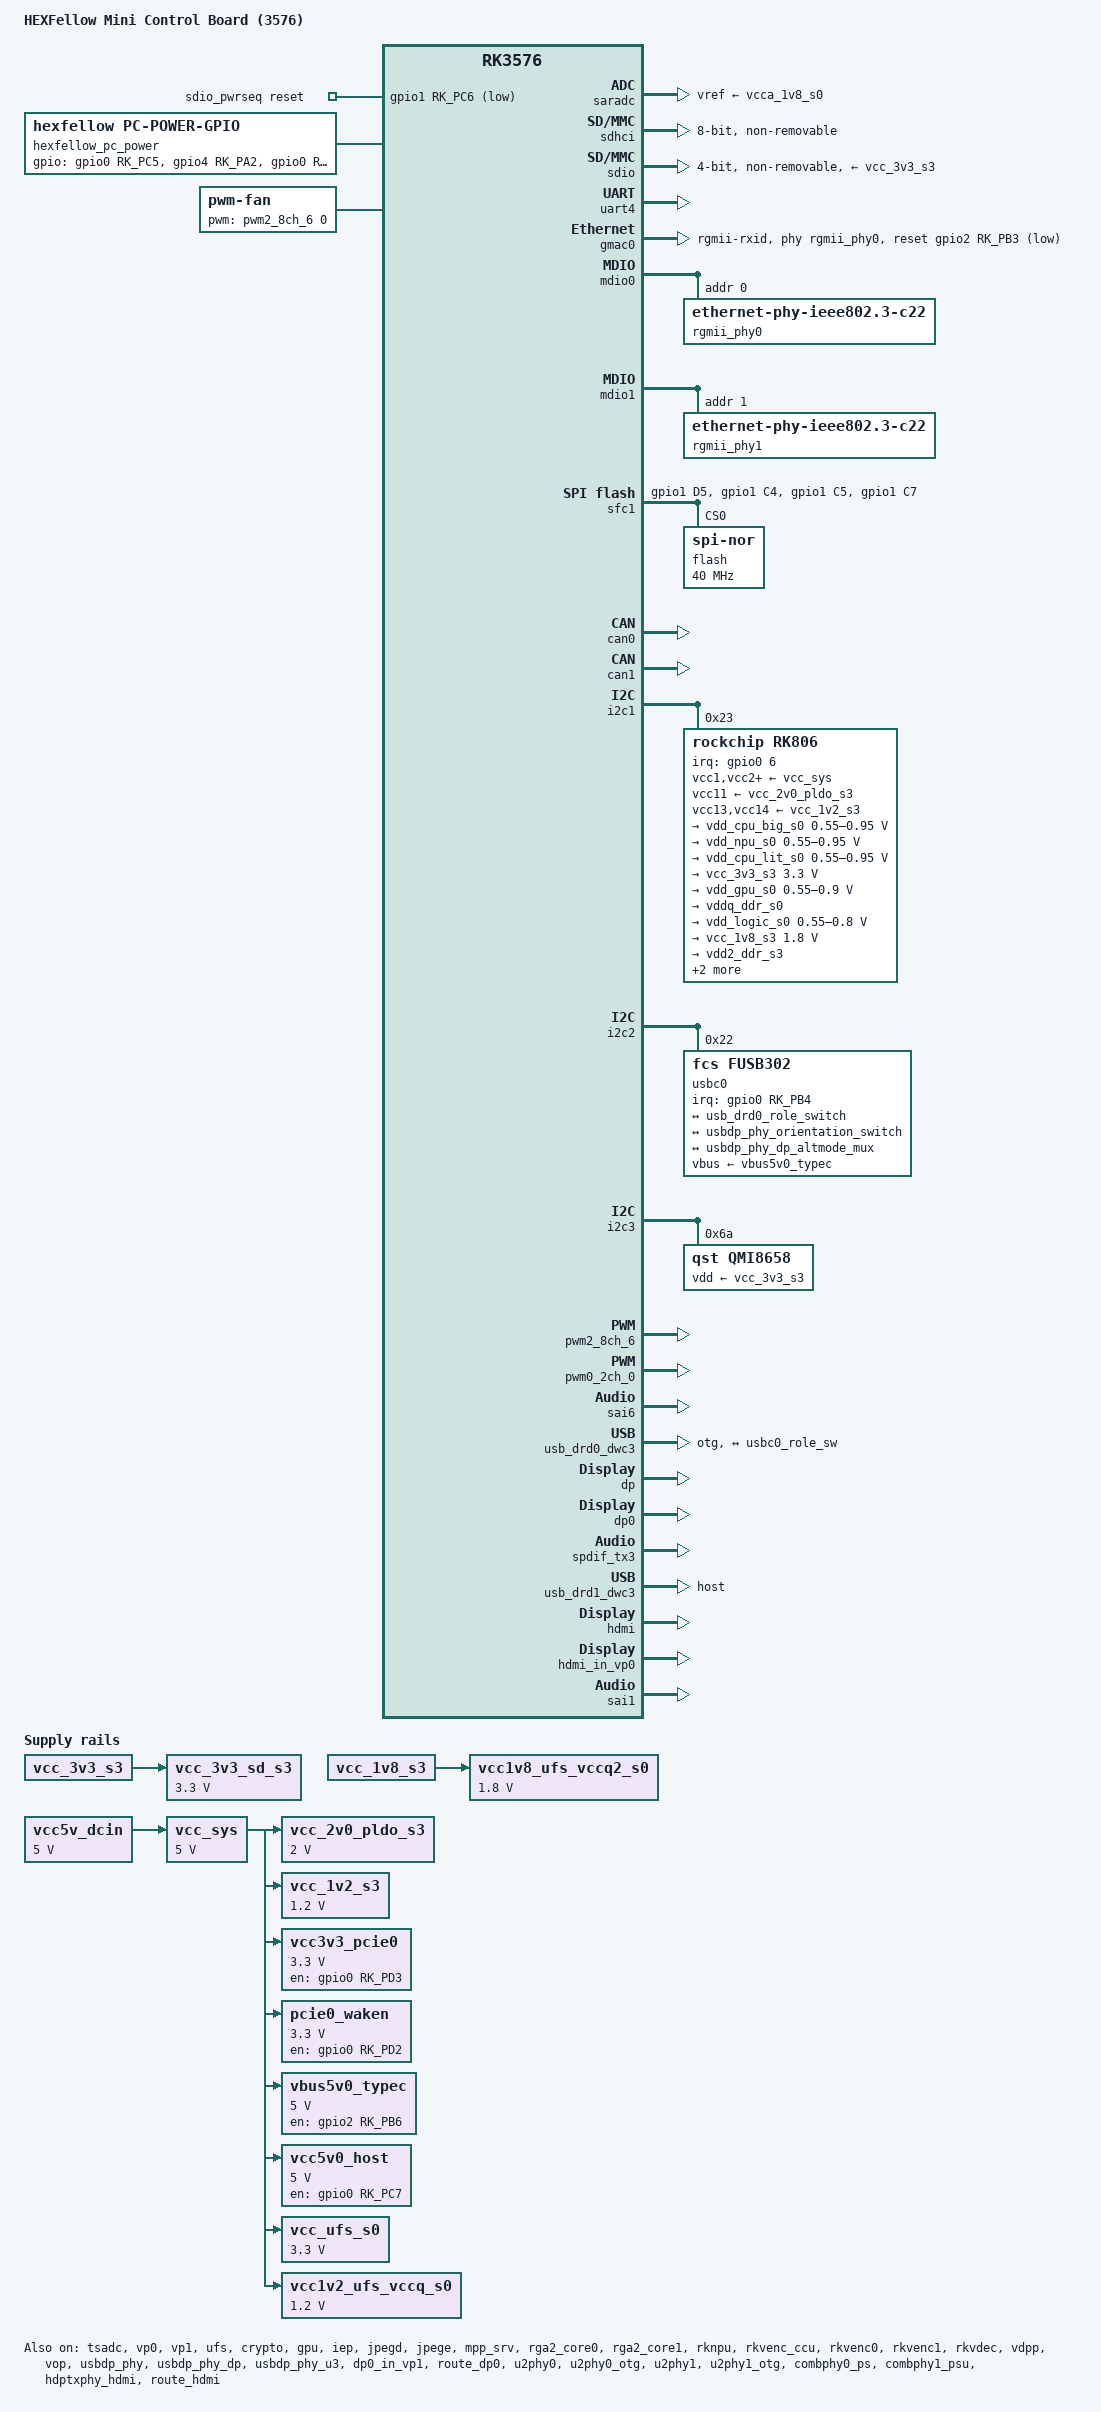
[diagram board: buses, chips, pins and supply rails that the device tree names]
// SPDX-License-Identifier: (GPL-2.0+ OR MIT)
/*
* Copyright (c) 2024 Rockchip Electronics Co., Ltd.
* Copyright (c) 2024 EmbedFire <embedfire@embedfire.com>
*/

/dts-v1/;
#include <dt-bindings/usb/pd.h>
#include <dt-bindings/gpio/gpio.h>
#include <dt-bindings/pwm/pwm.h>
#include <dt-bindings/pinctrl/rockchip.h>
#include <dt-bindings/input/linux-event-codes.h>
#include <dt-bindings/display/drm_mipi_dsi.h>
#include <dt-bindings/display/rockchip_vop.h>
#include <dt-bindings/sensor-dev.h>

#include "rk3576.dtsi"
#include "rk3576-linux.dtsi"
//#include "rk3576-rk806.dtsi"

/ {
	model = "HEXFellow Mini Control Board (3576)";
	compatible = "hexfellow,mini-ctrl-1", "rockchip,rk3576";
	
	aliases{
		ethernet0 = &gmac0;
		// ethernet1 = &gmac1;
		// can0 = &can0;
		// can1 = &can1;
	};

	chosen: chosen{
		stdout-path = "serial0:1500000n8";
	};

	vcc5v_dcin: vcc5v-dcin {
		compatible = "regulator-fixed";
		regulator-name = "vcc5v_dcin";
		regulator-always-on;
		regulator-boot-on;
		regulator-min-microvolt = <5000000>;
		regulator-max-microvolt = <5000000>;
	};

	vcc_sys: vcc5v0-sys {
		compatible = "regulator-fixed";
		regulator-name = "vcc_sys";
		regulator-always-on;
		regulator-boot-on;
		regulator-min-microvolt = <5000000>;
		regulator-max-microvolt = <5000000>;
		vin-supply = <&vcc5v_dcin>;
	};

	vcc_2v0_pldo_s3: vcc-2v0-pldo-s3 {
		compatible = "regulator-fixed";
		regulator-name = "vcc_2v0_pldo_s3";
		regulator-boot-on;
		regulator-always-on;
		regulator-min-microvolt = <2000000>;
		regulator-max-microvolt = <2000000>;
		vin-supply = <&vcc_sys>;
	};

	// vcc_1v1_nldo_s3: vcc-1v1-nldo-s3 {
	// 	compatible = "regulator-fixed";
	// 	regulator-name = "vcc_1v1_nldo_s3";
	// 	regulator-boot-on;
	// 	regulator-always-on;
	// 	regulator-min-microvolt = <1100000>;
	// 	regulator-max-microvolt = <1100000>;
	// 	vin-supply = <&vcc_sys>;
	// };
	vcc_1v2_s3: vcc-1v2-s3 {
		compatible = "regulator-fixed";
		regulator-name = "vcc_1v2_s3";
		regulator-boot-on;
		regulator-always-on;
		regulator-min-microvolt = <1200000>;
		regulator-max-microvolt = <1200000>;
		vin-supply = <&vcc_sys>;
	};
	vcc_3v3_sd_s3: vcc-3v3-sd-s3 {
		compatible = "regulator-fixed";
		regulator-name = "vcc_3v3_sd_s3";
		regulator-always-on;
		regulator-boot-on;
		regulator-min-microvolt = <3300000>;
		regulator-max-microvolt = <3300000>;
		vin-supply = <&vcc_3v3_s3>;
	};

	vcc3v3_pcie0: vcc3v3-pcie0 {
		compatible = "regulator-fixed";
		regulator-name = "vcc3v3_pcie0";
		regulator-min-microvolt = <3300000>;
		regulator-max-microvolt = <3300000>;
		enable-active-high;
		regulator-always-on;
		gpios = <&gpio0 RK_PD3 GPIO_ACTIVE_HIGH>;
		startup-delay-us = <5000>;
		vin-supply = <&vcc_sys>;
	};

	pcie0_waken: pcie0-waken {
		compatible = "regulator-fixed";
		regulator-name = "pcie0_waken";
		regulator-min-microvolt = <3300000>;
		regulator-max-microvolt = <3300000>;
		enable-active-high;
		regulator-always-on;
		gpios = <&gpio0 RK_PD2 GPIO_ACTIVE_HIGH>;
		startup-delay-us = <5000>;
		vin-supply = <&vcc_sys>;
	};
	sdio_pwrseq: sdio-pwrseq {
		compatible = "mmc-pwrseq-simple";
		pinctrl-names = "default";
		pinctrl-0 = <&wifi_poweren_gpio>;

		/*
		 * On the module itself this is one of these (depending
		 * on the actual card populated):
		 * - SDIO_RESET_L_WL_REG_ON
		 * - PDN (power down when low)
		 */
		post-power-on-delay-ms = <200>;
		reset-gpios = <&gpio1 RK_PC6 GPIO_ACTIVE_LOW>;
	};
	vbus5v0_typec: vbus5v0-typec {
		compatible = "regulator-fixed";
		regulator-name = "vbus5v0_typec";
		regulator-min-microvolt = <5000000>;
		regulator-max-microvolt = <5000000>;
		enable-active-high;
		gpio = <&gpio2 RK_PB6 GPIO_ACTIVE_HIGH>;
		vin-supply = <&vcc_sys>;
		pinctrl-names = "default";
		pinctrl-0 = <&typec_vbus_en>;
	};

	vcc5v0_host: vcc5v0-host {
		compatible = "regulator-fixed";
		regulator-name = "vcc5v0_host";
		regulator-boot-on;
		regulator-always-on;
		regulator-min-microvolt = <5000000>;
		regulator-max-microvolt = <5000000>;
		enable-active-high;
		gpio = <&gpio0 RK_PC7 GPIO_ACTIVE_HIGH>;
		vin-supply = <&vcc_sys>;
		pinctrl-names = "default";
		pinctrl-0 = <&vcc5v0_host_en>;
	};
	// wireless_bluetooth: wireless-bluetooth {
	// 	compatible = "bluetooth-platdata";
	// 	uart_rts_gpios = <&gpio1 RK_PC2 GPIO_ACTIVE_LOW>;
	// 	pinctrl-names = "default", "rts_gpio";
	// 	pinctrl-0 = <&uart4m1_rtsn>;
	// 	pinctrl-1 = <&uart4_gpios>;
	// 	BT,reset_gpio    = <&gpio1 RK_PC7 GPIO_ACTIVE_HIGH>;
	// 	// BT,wake_gpio     = <&gpio1 RK_PD4 GPIO_ACTIVE_HIGH>;
	// 	BT,wake_host_irq = <&gpio0 RK_PB1 GPIO_ACTIVE_HIGH>;
	// 	status = "okay";
	// };
	// wireless_wlan: wireless-wlan {
	// 	compatible = "wlan-platdata";
	// 	wifi_chip_type = "rtl88x2cs";
	// 	pinctrl-names = "default";
	// 	pinctrl-0 = <&wifi_host_wake_irq>;
	// 	WIFI,host_wake_irq = <&gpio0 RK_PB0 GPIO_ACTIVE_HIGH>;
	// 	WIFI,poweren_gpio = <&gpio1 RK_PC6 GPIO_ACTIVE_HIGH>;
	// 	status = "okay";
	// };
	// es8388_sound: es8388-sound {
	// 	status = "okay";
	// 	compatible = "rockchip,multicodecs-card";
	// 	rockchip,card-name = "rockchip-es8388";
	// 	hp-det-gpio = <&gpio4 RK_PB0 GPIO_ACTIVE_HIGH>;
	// 	hp-con-gpio = <&gpio4 RK_PB2 GPIO_ACTIVE_HIGH>;
	// 	io-channels = <&saradc 4>;
	// 	io-channel-names = "adc-detect";
	// 	keyup-threshold-microvolt = <1800000>;
	// 	poll-interval = <100>;
	// 	// rockchip,pre-power-on-delay-ms = <30>;
	// 	// rockchip,post-power-down-delay-ms = <40>;
	// 	rockchip,format = "i2s";
	// 	rockchip,mclk-fs = <256>;
	// 	rockchip,cpu = <&sai1>;
	// 	rockchip,codec = <&es8388>;
	// 	rockchip,audio-routing =
	// 		"Headphone", "LOUT1",
	// 		"Headphone", "ROUT1",
	// 		"Headphone", "Headphone Power",
	// 		"Headphone", "Headphone Power",
	// 		"LINPUT1", "Main Mic",
	// 		"LINPUT2", "Main Mic",
	// 		"RINPUT1", "Headset Mic",
	// 		"RINPUT2", "Headset Mic";
	// 	pinctrl-names = "default";
	// 	pinctrl-0 = <&hp_det>;
	// 	play-pause-key {
	// 		label = "playpause";
	// 		linux,code = <KEY_PLAYPAUSE>;
	// 		press-threshold-microvolt = <2000>;
	// 	};

	// 	previous-song-key {
	// 		label = "previoussong";
	// 		linux,code = <KEY_PREVIOUSSONG>;
	// 		press-threshold-microvolt = <145000>;
	// 	};

	// 	next-song-key {
	// 		label = "nextsong";
	// 		linux,code = <KEY_NEXTSONG>;
	// 		press-threshold-microvolt = <290000>;
	// 	};
	// };
    hexfellow_pc_power: hexfellow-pc-power {
        compatible = "hexfellow,pc-power-gpio";
        status = "okay";

        /* 
         * 1. energe_dump -> GPIO0_C5
         * 2. 12V_power   -> GPIO4_A2
         * 3. output_en   -> GPIO0_D0
         */
        gpios = <&gpio0 RK_PC5 GPIO_ACTIVE_HIGH>,   // energe_dump
                <&gpio4 RK_PA2 GPIO_ACTIVE_HIGH>,   // 12V_power
                <&gpio0 RK_PD0  GPIO_ACTIVE_HIGH>,   // output_en
                <&gpio2 RK_PB4  GPIO_ACTIVE_HIGH>;   // gpio_pwr_en

        gpio-names = "energe_dump", "12V_power", "output_en", "gpio_pwr_en";
    };
	gpu_opp_table: gpu-opp-table {
		compatible = "operating-points-v2";

		nvmem-cells = <&gpu_leakage>, <&gpu_opp_info>;
		nvmem-cell-names = "leakage", "opp-info";

		rockchip,pvtm-voltage-sel = <
			0	800	0
			801	820	1
			821	840	2
			841	860	3
			861	9999	4
		>;
		rockchip,pvtm-pvtpll;
		rockchip,pvtpll = <&gpu_pvtpll>;
		rockchip,pvtm-offset = <0x54>;
		rockchip,pvtm-sample-time = <1100>;
		rockchip,pvtm-freq = <800000>;
		rockchip,pvtm-volt = <750000>;
		rockchip,pvtm-ref-temp = <35>;
		rockchip,pvtm-temp-prop = <0 0>;
		rockchip,pvtm-thermal-zone = "gpu-thermal";

		rockchip,grf = <&gpu_grf>;
		volt-mem-read-margin = <
			855000	1
			765000	2
			675000	3
			495000	4
		>;
		intermediate-threshold-freq = <300000>;
		rockchip,opp-clocks = <&cru CLK_GPU>, <&cru PCLK_GPU_ROOT>;

		rockchip,temp-hysteresis = <5000>;
		rockchip,low-temp = <15000>;
		rockchip,low-temp-min-volt = <750000>;

		opp-300000000 {
			opp-hz = /bits/ 64 <300000000>;
			opp-microvolt = <700000 700000 850000>;
		};
		opp-400000000 {
			opp-hz = /bits/ 64 <400000000>;
			opp-microvolt = <700000 700000 850000>;
		};
		opp-500000000 {
			opp-hz = /bits/ 64 <500000000>;
			opp-microvolt = <700000 700000 850000>;
		};
		opp-600000000 {
			opp-hz = /bits/ 64 <600000000>;
			opp-microvolt = <700000 700000 850000>;
		};
		opp-700000000 {
			opp-hz = /bits/ 64 <700000000>;
			opp-microvolt = <725000 725000 850000>;
			opp-microvolt-L1 = <712500 712500 850000>;
			opp-microvolt-L2 = <700000 700000 850000>;
			opp-microvolt-L3 = <700000 700000 850000>;
			opp-microvolt-L4 = <700000 700000 850000>;
		};
		opp-800000000 {
			opp-hz = /bits/ 64 <800000000>;
			opp-microvolt = <775000 775000 850000>;
			opp-microvolt-L1 = <762500 762500 850000>;
			opp-microvolt-L2 = <750000 750000 850000>;
			opp-microvolt-L3 = <737500 737500 850000>;
			opp-microvolt-L4 = <725000 725000 850000>;
		};
		opp-900000000 {
			opp-hz = /bits/ 64 <900000000>;
			opp-microvolt = <825000 825000 850000>;
			opp-microvolt-L2 = <812500 812500 850000>;
			opp-microvolt-L3 = <800000 800000 850000>;
			opp-microvolt-L4 = <787500 787500 850000>;
		};
		opp-950000000 {
			opp-hz = /bits/ 64 <950000000>;
			opp-microvolt = <850000 850000 850000>;
			opp-microvolt-L2 = <837500 837500 850000>;
			opp-microvolt-L3 = <825000 825000 850000>;
			opp-microvolt-L4 = <812500 812500 850000>;
		};
	};
	hdmi_sound: hdmi-sound {
		compatible = "rockchip,hdmi";
		rockchip,mclk-fs = <128>;
		rockchip,card-name = "rockchip-hdmi";
		rockchip,cpu = <&sai6>;
		rockchip,codec = <&hdmi>;
		rockchip,jack-det;
	};

	dp0_sound: dp0-sound {
		compatible = "rockchip,hdmi";
		rockchip,mclk-fs = <512>;
		rockchip,card-name = "rockchip-dp0";
		rockchip,cpu = <&spdif_tx3>;
		rockchip,codec = <&dp0 1>;
		rockchip,jack-det;
	};

	fan: pwm-fan {
		compatible = "pwm-fan";
		#cooling-cells = <2>;
		pwms = <&pwm2_8ch_6 0 500000 0>;
		cooling-levels = <150>;
		rockchip,temp-trips = <
			0 0
		>;
	};

	vcc_ufs_s0: vcc-ufs-s0 {
		compatible = "regulator-fixed";
		regulator-name = "vcc_ufs_s0";
		regulator-boot-on;
		regulator-always-on;
		regulator-min-microvolt = <3300000>;
		regulator-max-microvolt = <3300000>;
		vin-supply = <&vcc_sys>;
	};

	vcc1v8_ufs_vccq2_s0: vcc1v8-ufs-vccq2-s0 {
		compatible = "regulator-fixed";
		regulator-name = "vcc1v8_ufs_vccq2_s0";
		regulator-boot-on;
		regulator-always-on;
		regulator-min-microvolt = <1800000>;
		regulator-max-microvolt = <1800000>;
		vin-supply = <&vcc_1v8_s3>;
	};

	vcc1v2_ufs_vccq_s0: vcc1v2-ufs-vccq-s0 {
		compatible = "regulator-fixed";
		regulator-name = "vcc1v2_ufs_vccq_s0";
		regulator-boot-on;
		regulator-always-on;
		regulator-min-microvolt = <1200000>;
		regulator-max-microvolt = <1200000>;
		vin-supply = <&vcc_sys>;
	};

	test-power {
		status = "okay";
	};
};

&saradc {
	status = "okay";
	vref-supply = <&vcca_1v8_s0>;
};

&tsadc {
	status = "okay";
};


&sdhci {
	assigned-clocks = <&cru BCLK_EMMC>, <&cru TCLK_EMMC>, <&cru CCLK_SRC_EMMC>;
	assigned-clock-rates = <200000000>, <24000000>, <200000000>;
	bus-width = <8>;
	max-frequency = <200000000>;
	mmc-hs400-1_8v;
	mmc-hs400-enhanced-strobe;
	non-removable;
	pinctrl-names = "default";
	pinctrl-0 = <&emmc_bus8 &emmc_clk &emmc_cmd>;
	// full-pwr-cycle-in-suspend;
	status = "okay";
};

&sdmmc {
	max-frequency = <200000000>;
	no-sdio;
	no-mmc;
	bus-width = <4>;
	cap-mmc-highspeed;
	cap-sd-highspeed;
	disable-wp;
	sd-uhs-sdr104;
	vmmc-supply = <&vcc_3v3_sd_s3>;
	vqmmc-supply = <&vccio_sd_s0>;
	pinctrl-names = "default";
	pinctrl-0 = <&sdmmc0_clk &sdmmc0_cmd &sdmmc0_det &sdmmc0_bus4>;
	status = "disabled";
};
&sdio {
	max-frequency = <200000000>;
	no-sd;
	no-mmc;
	bus-width = <4>;
	disable-wp;
	cap-sd-highspeed;
	cap-sdio-irq;
	keep-power-in-suspend;
	mmc-pwrseq = <&sdio_pwrseq>;
	non-removable;
	pinctrl-names = "default";
	pinctrl-0 = <&sdmmc1m0_bus4 &sdmmc1m0_clk &sdmmc1m0_cmd>;
	vmmc-supply = <&vcc_3v3_s3>;
	vqmmc-supply = <&vcc_1v8_s3>;
	// sd-uhs-sdr12;
	// sd-uhs-sdr25;
	// sd-uhs-sdr50;
	// sd-uhs-sdr104;
	status = "okay";
};

&uart4 {
	status = "okay";
	pinctrl-names = "default";
	pinctrl-0 = <&uart4m1_xfer &uart4m1_ctsn>;
};
&gmac0 {
	phy-mode = "rgmii-rxid";
	clock_in_out = "output";

	snps,reset-gpio = <&gpio2 RK_PB3 GPIO_ACTIVE_LOW>;
	snps,reset-active-low;
	/* Reset time is 20ms, 100ms */
	snps,reset-delays-us = <0 20000 100000>;

	pinctrl-names = "default";
	pinctrl-0 = <&eth0m0_miim
			 &eth0m0_tx_bus2
			 &eth0m0_rx_bus2
			 &eth0m0_rgmii_clk
			 &eth0m0_rgmii_bus
			 &ethm0_clk0_25m_out>;

			 tx_delay = <0x0e>;
			//  rx_delay = <0x01>;

	phy-handle = <&rgmii_phy0>;
	status = "okay";
};

&gmac1 {
	phy-mode = "rgmii-rxid";
	clock_in_out = "output";

	snps,reset-gpio = <&gpio2 RK_PD6 GPIO_ACTIVE_LOW>;
	snps,reset-active-low;
	/* Reset time is 20ms, 100ms */
	snps,reset-delays-us = <0 20000 100000>;

	// assigned-clocks = <&cru SCLK_GMAC1_RX_TX>, <&cru SCLK_GMAC1>;
	// assigned-clock-parents = <&cru SCLK_GMAC1_RGMII_SPEED>;
	// assigned-clock-rates = <0>, <125000000>;

	pinctrl-names = "default";
	pinctrl-0 = <&eth1m1_miim
			 &eth1m1_tx_bus2
			 &eth1m1_rx_bus2
			 &eth1m1_rgmii_clk
			 &eth1m1_rgmii_bus>;

			 tx_delay = <0x20>;
			 rx_delay = <0x01>;

	phy-handle = <&rgmii_phy1>;
	status = "disabled";
};


&vp0 {
	rockchip,plane-mask = <(1 << ROCKCHIP_VOP2_CLUSTER0 | 1 << ROCKCHIP_VOP2_ESMART0)>;
	rockchip,primary-plane = <ROCKCHIP_VOP2_ESMART0>;
	cursor-win-id = <ROCKCHIP_VOP2_CLUSTER0>;
};

&vp1 {
	rockchip,plane-mask = <(1 << ROCKCHIP_VOP2_CLUSTER1 | 1 << ROCKCHIP_VOP2_ESMART1)>;
	rockchip,primary-plane = <ROCKCHIP_VOP2_ESMART1>;
	cursor-win-id = <ROCKCHIP_VOP2_CLUSTER1>;
};

&vp2 {
	rockchip,plane-mask = <(1 << ROCKCHIP_VOP2_ESMART2 | 1 << ROCKCHIP_VOP2_ESMART3)>;
	rockchip,primary-plane = <ROCKCHIP_VOP2_ESMART2>;
	cursor-win-id = <ROCKCHIP_VOP2_ESMART3>;
};

&vp2 {
	esmart_lb_mode = /bits/ 8 <5>;
};
&mdio0 {
	rgmii_phy0: phy@0 {
		compatible = "ethernet-phy-ieee802.3-c22";
		reg = <0x0>;
		clocks = <&cru REFCLKO25M_GMAC0_OUT>;
	};
};
&mdio1 {
	rgmii_phy1: phy@1 {
		compatible = "ethernet-phy-ieee802.3-c22";
		reg = <0x1>;
		clocks = <&cru REFCLKO25M_GMAC1_OUT>;
	};
};
&sfc1 {
	status = "okay";
	pinctrl-names = "default";
	pinctrl-0 = <&fspi1m1_correct_pins &fspi1m1_csn0>;

	flash@0 {
		compatible = "jedec,spi-nor";
		reg = <0>;
		spi-max-frequency = <40000000>;
		spi-rx-bus-width = <4>;
		spi-tx-bus-width = <1>;
	};
};

&can0 {
    status = "okay"; 
	assigned-clocks = <&cru CLK_CAN0>;
	assigned-clock-rates=<200000000>;
    pinctrl-names = "default";
    pinctrl-0 = <&can0m3_pins>;
};
&can1 {
    status = "okay"; 
	assigned-clocks = <&cru CLK_CAN1>;
	assigned-clock-rates=<200000000>;
    pinctrl-names = "default";
    pinctrl-0 = <&can1m1_pins>;
};

&i2c1 {
	status = "okay";
	pinctrl-names = "default";
	pinctrl-0 = <&i2c1m0_xfer>;
	rk806: pmic@23 {
		compatible = "rockchip,rk806";
		reg = <0x23>;

		interrupt-parent = <&gpio0>;
		interrupts = <6 IRQ_TYPE_LEVEL_LOW>;

		pinctrl-names = "default", "pmic-power-off";
		pinctrl-0 = <&pmic_pins>, <&rk806_dvs1_null>, <&rk806_dvs2_null>, <&rk806_dvs3_null>;
		pinctrl-1 = <&rk806_dvs1_pwrdn>;

		/* 2800mv-3500mv */
		low_voltage_threshold = <3000>;
		/* 2700mv-3400mv */
		shutdown_voltage_threshold = <2700>;
		/* 140 160 */
		shutdown_temperture_threshold = <160>;
		hotdie_temperture_threshold = <115>;
		/* shutdown sequence */
		shutdown-sequence = <2 2 2 0 2 0 2 1 1 2
							 2 2 2 2 2
							 1 0 0 0 0 2>;

		/* low power forced shutdown sequence */
		vb-shutdown-sequence = <2 2 2 0 2 0 2 0 0 2
								2 2 2 2 2
								0 0 0 0 0 2>;

		/* 0: restart PMU;
		 * 1: reset all the power off reset registers,
		 *    forcing the state to switch to ACTIVE mode;
		 * 2: Reset all the power off reset registers,
		 *    forcing the state to switch to ACTIVE mode,
		 *    and simultaneously pull down the RESETB PIN for 5mS before releasing
		 */
		pmic-reset-func = <1>;
		/* buck5 external feedback resister disable */
		buck5-feedback-disable;

		vcc1-supply = <&vcc_sys>;
		vcc2-supply = <&vcc_sys>;
		vcc3-supply = <&vcc_sys>;
		vcc4-supply = <&vcc_sys>;
		vcc5-supply = <&vcc_sys>;
		vcc6-supply = <&vcc_sys>;
		vcc7-supply = <&vcc_sys>;
		vcc8-supply = <&vcc_sys>;
		vcc9-supply = <&vcc_sys>;
		vcc10-supply = <&vcc_sys>;
		vcc11-supply = <&vcc_2v0_pldo_s3>;
		vcc12-supply = <&vcc_sys>;
		vcc13-supply = <&vcc_1v2_s3>;
		vcc14-supply = <&vcc_1v2_s3>;
		vcca-supply = <&vcc_sys>;

		pwrkey {
			status = "okay";
		};

		pinctrl_rk806: pinctrl_rk806 {
			gpio-controller;
			#gpio-cells = <2>;

			rk806_dvs1_null: rk806_dvs1_null {
				pins = "gpio_pwrctrl2";
				function = "pin_fun0";
			};

			rk806_dvs1_slp: rk806_dvs1_slp {
				pins = "gpio_pwrctrl1";
				function = "pin_fun1";
			};

			rk806_dvs1_pwrdn: rk806_dvs1_pwrdn {
				pins = "gpio_pwrctrl1";
				function = "pin_fun2";
			};

			rk806_dvs1_rst: rk806_dvs1_rst {
				pins = "gpio_pwrctrl1";
				function = "pin_fun3";
			};

			rk806_dvs2_null: rk806_dvs2_null {
				pins = "gpio_pwrctrl2";
				function = "pin_fun0";
			};

			rk806_dvs2_slp: rk806_dvs2_slp {
				pins = "gpio_pwrctrl2";
				function = "pin_fun1";
			};

			rk806_dvs2_pwrdn: rk806_dvs2_pwrdn {
				pins = "gpio_pwrctrl2";
				function = "pin_fun2";
			};

			rk806_dvs2_rst: rk806_dvs2_rst {
				pins = "gpio_pwrctrl2";
				function = "pin_fun3";
			};

			rk806_dvs2_dvs: rk806_dvs2_dvs {
				pins = "gpio_pwrctrl2";
				function = "pin_fun4";
			};

			rk806_dvs2_gpio: rk806_dvs2_gpio {
				pins = "gpio_pwrctrl2";
				function = "pin_fun5";
			};

			rk806_dvs3_null: rk806_dvs3_null {
				pins = "gpio_pwrctrl3";
				function = "pin_fun0";
			};

			rk806_dvs3_slp: rk806_dvs3_slp {
				pins = "gpio_pwrctrl3";
				function = "pin_fun1";
			};

			rk806_dvs3_pwrdn: rk806_dvs3_pwrdn {
				pins = "gpio_pwrctrl3";
				function = "pin_fun2";
			};

			rk806_dvs3_rst: rk806_dvs3_rst {
				pins = "gpio_pwrctrl3";
				function = "pin_fun3";
			};

			rk806_dvs3_dvs: rk806_dvs3_dvs {
				pins = "gpio_pwrctrl3";
				function = "pin_fun4";
			};

			rk806_dvs3_gpio: rk806_dvs3_gpio {
				pins = "gpio_pwrctrl3";
				function = "pin_fun5";
			};
		};

		regulators {
			vdd_cpu_big_s0: DCDC_REG1 {
				regulator-always-on;
				regulator-boot-on;
				regulator-init-microvolt = <850000>;
				regulator-min-microvolt = <550000>;
				regulator-max-microvolt = <950000>;
				regulator-ramp-delay = <12500>;
				regulator-name = "vdd_cpu_big_s0";
				regulator-enable-ramp-delay = <400>;
				regulator-state-mem {
					regulator-off-in-suspend;
				};
			};

			vdd_npu_s0: DCDC_REG2 {
				regulator-boot-on;
				regulator-min-microvolt = <550000>;
				regulator-max-microvolt = <950000>;
				regulator-ramp-delay = <12500>;
				regulator-name = "vdd_npu_s0";
				regulator-enable-ramp-delay = <400>;
				regulator-state-mem {
					regulator-off-in-suspend;
				};
			};

			vdd_cpu_lit_s0: DCDC_REG3 {
				regulator-always-on;
				regulator-boot-on;
				regulator-init-microvolt = <850000>;
				regulator-min-microvolt = <550000>;
				regulator-max-microvolt = <950000>;
				regulator-ramp-delay = <12500>;
				regulator-name = "vdd_cpu_lit_s0";
				regulator-state-mem {
					regulator-off-in-suspend;
					regulator-suspend-microvolt = <750000>;
				};
			};

			vcc_3v3_s3: DCDC_REG4 {
				regulator-always-on;
				regulator-boot-on;
				regulator-min-microvolt = <3300000>;
				regulator-max-microvolt = <3300000>;
				regulator-name = "vcc_3v3_s3";
				regulator-state-mem {
					regulator-on-in-suspend;
					regulator-suspend-microvolt = <3300000>;
				};
			};

			vdd_gpu_s0: DCDC_REG5 {
				regulator-boot-on;
				regulator-init-microvolt = <750000>;
				regulator-min-microvolt = <550000>;
				regulator-max-microvolt = <900000>;
				regulator-ramp-delay = <12500>;
				regulator-name = "vdd_gpu_s0";
				regulator-enable-ramp-delay = <400>;
				regulator-state-mem {
					regulator-off-in-suspend;
					regulator-suspend-microvolt = <850000>;
				};
			};

			vddq_ddr_s0: DCDC_REG6 {
				regulator-always-on;
				regulator-boot-on;
				regulator-name = "vddq_ddr_s0";
				regulator-state-mem {
					regulator-off-in-suspend;
				};
			};

			vdd_logic_s0: vdd_log_mem_s0: DCDC_REG7 {
				regulator-always-on;
				regulator-boot-on;
				regulator-init-microvolt = <750000>;
				regulator-min-microvolt = <550000>;
				regulator-max-microvolt = <800000>;
				regulator-name = "vdd_logic_s0";
				regulator-state-mem {
					regulator-off-in-suspend;
				};
			};

			vcc_1v8_s3: DCDC_REG8 {
				regulator-always-on;
				regulator-boot-on;
				regulator-min-microvolt = <1800000>;
				regulator-max-microvolt = <1800000>;
				regulator-name = "vcc_1v8_s3";
				regulator-state-mem {
					regulator-on-in-suspend;
					regulator-suspend-microvolt = <1800000>;
				};
			};

			vdd2_ddr_s3: DCDC_REG9 {
				regulator-always-on;
				regulator-boot-on;
				regulator-name = "vdd2_ddr_s3";
				regulator-state-mem {
					regulator-on-in-suspend;
				};
			};

			vdd_ddr_s0: DCDC_REG10 {
				regulator-always-on;
				regulator-boot-on;
				regulator-min-microvolt = <550000>;
				regulator-max-microvolt = <1200000>;
				regulator-name = "vdd_ddr_s0";
				regulator-state-mem {
					regulator-off-in-suspend;
				};
			};

			vcca_1v8_s0: PLDO_REG1 {
				regulator-always-on;
				regulator-boot-on;
				regulator-min-microvolt = <1800000>;
				regulator-max-microvolt = <1800000>;
				regulator-name = "vcca_1v8_s0";
				regulator-state-mem {
					regulator-off-in-suspend;
				};
			};

			vcca1v8_pldo2_s0: PLDO_REG2 {
				regulator-always-on;
				regulator-boot-on;
				regulator-min-microvolt = <1800000>;
				regulator-max-microvolt = <1800000>;
				regulator-name = "vcca1v8_pldo2_s0";
				regulator-state-mem {
					regulator-off-in-suspend;
				};
			};

			vdda_1v2_s0: PLDO_REG3 {
				regulator-always-on;
				regulator-boot-on;
				regulator-min-microvolt = <1200000>;
				regulator-max-microvolt = <1200000>;
				regulator-name = "vdda_1v2_s0";
				regulator-state-mem {
					regulator-off-in-suspend;
				};
			};

			vcca_3v3_s0: PLDO_REG4 {
				regulator-always-on;
				regulator-boot-on;
				regulator-min-microvolt = <3300000>;
				regulator-max-microvolt = <3300000>;
				regulator-name = "vcca_3v3_s0";
				regulator-state-mem {
					regulator-off-in-suspend;
				};
			};

			vccio_sd_s0: PLDO_REG5 {
				regulator-always-on;
				regulator-boot-on;
				regulator-min-microvolt = <1800000>;
				regulator-max-microvolt = <3300000>;
				regulator-name = "vccio_sd_s0";
				regulator-state-mem {
					regulator-off-in-suspend;
				};
			};

			vcca1v8_pldo6_s3: PLDO_REG6 {
				regulator-always-on;
				regulator-boot-on;
				regulator-min-microvolt = <1800000>;
				regulator-max-microvolt = <1800000>;
				regulator-name = "vcca1v8_pldo6_s3";
				regulator-state-mem {
					regulator-on-in-suspend;
					regulator-suspend-microvolt = <1800000>;
				};
			};

			vdd_0v75_s3: NLDO_REG1 {
				regulator-always-on;
				regulator-boot-on;
				regulator-min-microvolt = <750000>;
				regulator-max-microvolt = <750000>;
				regulator-name = "vdd_0v75_s3";
				regulator-state-mem {
					regulator-on-in-suspend;
					regulator-suspend-microvolt = <750000>;
				};
			};

			vdda_ddr_pll_s0: NLDO_REG2 {
				regulator-always-on;
				regulator-boot-on;
				regulator-min-microvolt = <850000>;
				regulator-max-microvolt = <850000>;
				regulator-name = "vdda_ddr_pll_s0";
				regulator-state-mem {
					regulator-off-in-suspend;
				};
			};

			vdda0v75_hdmi_s0: NLDO_REG3 {
				regulator-always-on;
				regulator-boot-on;
				regulator-min-microvolt = <837500>;
				regulator-max-microvolt = <837500>;
				regulator-name = "vdda0v75_hdmi_s0";
				regulator-state-mem {
					regulator-off-in-suspend;
				};
			};

			vdda_0v85_s0: NLDO_REG4 {
				regulator-always-on;
				regulator-boot-on;
				regulator-min-microvolt = <850000>;
				regulator-max-microvolt = <850000>;
				regulator-name = "vdda_0v85_s0";
				regulator-state-mem {
					regulator-off-in-suspend;
				};
			};

			vdda_0v75_s0: NLDO_REG5 {
				regulator-always-on;
				regulator-boot-on;
				regulator-min-microvolt = <750000>;
				regulator-max-microvolt = <750000>;
				regulator-name = "vdda_0v75_s0";
				regulator-state-mem {
					regulator-off-in-suspend;
				};
			};
		};
	};
};
&i2c2 {
	pinctrl-names = "default";
	pinctrl-0 = <&i2c2m0_xfer>;
	status = "okay";

	/* Typec Controller AW35615CSR */
	usbc0: fusb302@22 {
		compatible = "fcs,fusb302";
		reg = <0x22>;
		interrupt-parent = <&gpio0>;
		interrupts = <RK_PB4 IRQ_TYPE_LEVEL_LOW>;
		pinctrl-names = "default";
		pinctrl-0 = <&fusb302_int>;
		vbus-supply = <&vbus5v0_typec>;
		status = "okay";

		ports {
			#address-cells = <1>;
			#size-cells = <0>;

			port@0 {
				reg = <0>;
				usbc0_role_sw: endpoint@0 {
					remote-endpoint = <&usb_drd0_role_switch>;
				};
			};
		};

		usb_con: connector {
			compatible = "usb-c-connector";
			label = "USB-C";
			data-role = "dual";
			power-role = "dual";
			try-power-role = "sink";
			op-sink-microwatt = <1000000>;
			sink-pdos =
				<PDO_FIXED(5000, 1000, PDO_FIXED_USB_COMM)>;
			source-pdos =
				<PDO_FIXED(5000, 3000, PDO_FIXED_USB_COMM)>;

			altmodes {
				#address-cells = <1>;
				#size-cells = <0>;

				altmode@0 {
					reg = <0>;
					svid = <0xff01>;
					vdo = <0xffffffff>;
				};
			};

			ports {
				#address-cells = <1>;
				#size-cells = <0>;

				port@0 {
					reg = <0>;
					usbc0_orien_sw: endpoint {
						remote-endpoint = <&usbdp_phy_orientation_switch>;
					};
				};

				port@1 {
					reg = <1>;
					dp_altmode_mux: endpoint {
						remote-endpoint = <&usbdp_phy_dp_altmode_mux>;
					};
				};
			};
		};
	};
};

&i2c3 {
	pinctrl-names = "default";
	pinctrl-0 = <&i2c3m0_xfer>;
	status = "okay";

	qmi8658: imu@6a {
		compatible = "qst,qmi8658";
		reg = <0x6a>;
		vdd-supply = <&vcc_3v3_s3>;
	};
};

&pwm2_8ch_6 {
	status = "okay";
	pinctrl-0 = <&pwm2m0_ch6>;
};

&pwm0_2ch_0 {
	compatible = "rockchip,remotectl-pwm-v4";
	pinctrl-names = "default";
	pinctrl-0 = <&pwm0m0_ch0>;
	remote_pwm_id = <0>;
	handle_cpu_id = <1>;
	remote_support_psci = <0>;
	status = "okay";

	ir_key_lubancat{
		rockchip,usercode = <0xff00>;
		rockchip,key_table =
			<0xba   KEY_POWER>,   //电源按键
			<0xb8   KEY_MENU>,     //菜单按键
			<0xbc   KEY_BACK>,      //返回按键
			<0xbb   KEY_HOME>,      //home键按键
			<0xea   KEY_PLAY>,      //播放按键
			<0xbf   KEY_VOLUMEUP>,  //音量加按键
			<0xe6   KEY_VOLUMEDOWN>,   //音量键按键
			<0xf6   KEY_FASTFORWARD>,  //快进按键
			<0xf8   KEY_FASTREVERSE>,  //快退按键
			<0xf2   KEY_BACKSPACE>,    //BaskSpace按键
			<0xf3   KEY_1>,            //按键1
			<0xe7   KEY_2>,
			<0xa1   KEY_3>,
			<0xf7   KEY_4>,
			<0xe3   KEY_5>,
			<0xa5   KEY_6>,
			<0xbd   KEY_7>,
			<0xad   KEY_8>,
			<0xb5   KEY_9>,
			<0xe9   KEY_0>;            //按键0
	};

	ir_key1 {
		rockchip,usercode = <0x4040>;
		rockchip,key_table =
			<0xf2	KEY_REPLY>,
			<0xba	KEY_BACK>,
			<0xf4	KEY_UP>,
			<0xf1	KEY_DOWN>,
			<0xef	KEY_LEFT>,
			<0xee	KEY_RIGHT>,
			<0xbd	KEY_HOME>,
			<0xea	KEY_VOLUMEUP>,
			<0xe3	KEY_VOLUMEDOWN>,
			<0xe2	KEY_SEARCH>,
			<0xb2	KEY_POWER>,
			<0xbc	KEY_MUTE>,
			<0xec	KEY_MENU>,
			<0xbf	0x190>,
			<0xe0	0x191>,
			<0xe1	0x192>,
			<0xe9	183>,
			<0xe6	248>,
			<0xe8	185>,
			<0xe7	186>,
			<0xf0	388>,
			<0xbe	0x175>;
	};
};

&ufs {
	reset-gpios = <&gpio4 RK_PD0 GPIO_ACTIVE_HIGH>;
	vcc-supply = <&vcc_ufs_s0>;
	vccq-supply = <&vcc1v2_ufs_vccq_s0>;
	vccq2-supply = <&vcc1v8_ufs_vccq2_s0>;
	status = "okay";
};

&cpu_l0 {
	cpu-supply = <&vdd_cpu_lit_s0>;
};

&cpu_b0 {
	cpu-supply = <&vdd_cpu_big_s0>;
};

&crypto {
	status = "okay";
};

&gpu {
    mali-supply = <&vdd_gpu_s0>;
    status = "okay";
};

&iep {
	status = "okay";
};

&iep_mmu {
	status = "okay";
};
&jpegd {
	status = "okay";
};

&jpege {
	status = "okay";
};

&jpeg_mmu {
	status = "okay";
};

&mpp_srv {
	status = "okay";
};

&rga2_core0 {
	status = "okay";
};

&rga2_core0_mmu {
	status = "okay";
};

&rga2_core1 {
	status = "okay";
};

&rga2_core1_mmu {
	status = "okay";
};

&rknpu {
	rknpu-supply = <&vdd_npu_s0>;
	status = "okay";
};

&rknpu_mmu {
	status = "okay";
};

&rkvenc_ccu {
	status = "okay";
};

&rkvenc0 {
	status = "okay";
};

&rkvenc0_mmu {
	status = "okay";
};

&rkvenc1 {
	status = "okay";
};

&rkvenc1_mmu {
	status = "okay";

};

&rkvdec {
	status = "okay";
};

&rkvdec_mmu {
	status = "okay";
};

&rockchip_suspend {
	status = "okay";
	rockchip,sleep-debug-en = <1>;

	rockchip,sleep-io-ret-config = <
		(0
		| RKPM_VCCIO3_RET_EN
		)
	>;

	rockchip,regulator-on-before-mem = <&vdd_npu_s0>;
};

&sai6 {
	status = "okay";
};

&vdpp {
	status = "okay";
};

&vop {
	status = "okay";
	vop-supply = <&vdd_logic_s0>;
};

&vop_mmu {
	status = "okay";
};

&vp2 {
	assigned-clocks = <&cru DCLK_VP2_SRC>;
	assigned-clock-parents = <&cru PLL_VPLL>;
};

/* USB3 OTG0/DP1.4 Alt */
&usbdp_phy {
	orientation-switch;
	svid = <0xff01>;
	sbu1-dc-gpios = <&gpio4 RK_PC4 GPIO_ACTIVE_HIGH>;
	sbu2-dc-gpios = <&gpio4 RK_PC5 GPIO_ACTIVE_HIGH>;
	status = "okay";

	port {
		#address-cells = <1>;
		#size-cells = <0>;

		usbdp_phy_orientation_switch: endpoint@0 {
			reg = <0>;
			remote-endpoint = <&usbc0_orien_sw>;
		};

		usbdp_phy_dp_altmode_mux: endpoint@1 {
			reg = <1>;
			remote-endpoint = <&dp_altmode_mux>;
		};
	};

};

&usbdp_phy_dp {
	status = "okay";
};

&usbdp_phy_u3 {
	status = "okay";
};

&usb_drd0_dwc3 {
    dr_mode = "otg";
    usb-role-switch;
    status = "okay";
    port {
        usb_drd0_role_switch: endpoint {
            remote-endpoint = <&usbc0_role_sw>;
        };
    };
};

/* DP */
&dp {
	status = "okay";
};

&dp0 {
	status = "okay";
};

&dp0_in_vp0 {
	status = "disabled";
};

&dp0_in_vp1 {
	status = "okay";
};

&dp0_in_vp2 {
	status = "disabled";
};

&vp1 {
	status = "okay";
};

&route_dp0 {
	status = "okay";
	connect = <&vp1_out_dp0>;
};

&dp0_sound {
	status = "okay";
};

&spdif_tx3 {
	status = "okay";
};

/* USB2 OTG0 */
&u2phy0 {
	status = "okay";
};

&u2phy0_otg {
	rockchip,typec-vbus-det;
	rockchip,dis-u2-susphy;
	status = "okay";
};

/* USB2 OTG1 */
&u2phy1 {
	status = "okay";
};

&u2phy1_otg {
	phy-supply = <&vcc5v0_host>;
	dr_mode = "host";
	status = "okay";
};

/* PCIE0/SATA0 Combo PHY0 */
&combphy0_ps {
	status = "okay";
};

&pcie0 {
	reset-gpios = <&gpio2 RK_PB1 GPIO_ACTIVE_HIGH>;
	disable-gpios = <&gpio4 RK_PC7 GPIO_ACTIVE_HIGH>;
	vpcie3v3-supply = <&vcc3v3_pcie0>;
	pinctrl-names = "default";
	pinctrl-0 = <&pcie_disable_gpio>;
	status = "disabled";
};

&sata0 {
	vpcie3v3-supply = <&vcc3v3_pcie0>;
	status = "disabled";
};

/* PCIE1/SATA1/USB3_OTG1 Combo PHY1 */
&combphy1_psu {
	status = "okay";
};

&usb_drd1_dwc3 {
	dr_mode = "host";
	status = "okay";
};

/* HDMI TX/eDP TX Combo Phy */
&display_subsystem {
	clocks = <&hdptxphy_hdmi>;
	clock-names = "hdmi0_phy_pll";
};

&hdmi {
	cec-enable = "true";
	rockchip,sda-falling-delay-ns = <360>;
	status = "okay";
};

&vp0 {
	status = "okay";
};

&hdmi_in_vp0 {
	status = "okay";
};

&hdmi_in_vp1 {
	status = "disabled";
};

&hdmi_in_vp2 {
	status = "disabled";
};

&hdmi_in_vopl {
	status = "disabled";
};

&hdptxphy_hdmi {
	status = "okay";
};

&route_hdmi {
	status = "okay";
	connect = <&vp0_out_hdmi>;
};

&hdmi_sound {
	status = "okay";
};

&sai1 {
	status = "okay";
	rockchip,sai-tx-route = <2 1 0 3>;
	pinctrl-names = "default";
	pinctrl-0 = <&sai1m0_lrck
			&sai1m0_sclk
			&sai1m0_sdi0
			&sai1m0_sdo2>;
};

&pinctrl {

	wireless-bluetooth {
		uart4_gpios: uart4-gpios {
			rockchip,pins = <1 RK_PC2 RK_FUNC_GPIO &pcfg_pull_none>;
		};
	};

	wireless-wlan {
		wifi_host_wake_irq: wifi-host-wake-irq {
			rockchip,pins = <0 RK_PB0 RK_FUNC_GPIO &pcfg_pull_none>;
		};

		wifi_poweren_gpio: wifi-poweren-gpio {
			rockchip,pins = <1 RK_PC6 RK_FUNC_GPIO &pcfg_pull_up>;
		};
	};
	usb {
		fusb302_int: fusb302-int {
			rockchip,pins = <0 RK_PB4 RK_FUNC_GPIO &pcfg_pull_up>;
		};

		typec_vbus_en: typec-vbus-en {
			rockchip,pins = <2 RK_PB6 RK_FUNC_GPIO &pcfg_pull_none>;
		};

		vcc5v0_host_en: usb-host-pwren {
			rockchip,pins = <0 RK_PC7 RK_FUNC_GPIO &pcfg_pull_none>;
		};
	};

	mipi-dsi {
		lcd_pwr_en: lcd-pwr-en {
			rockchip,pins = <0 RK_PB6 RK_FUNC_GPIO &pcfg_pull_none>;
		};
	};

	headphone {
		hp_det: hp-det {
			rockchip,pins = <4 RK_PB0 RK_FUNC_GPIO &pcfg_pull_up>;
		};
	};

	pcie {
		pcie_disable_gpio: pcie-disable-gpio {
			rockchip,pins = <4 RK_PC7 RK_FUNC_GPIO &pcfg_pull_up>;
		};
	};

	fspi1m1_correct {
		fspi1m1_correct_pins: fspi1m1-correct-pins {
			rockchip,pins =
				/* fspi1_clk_m1 */
				<1 RK_PD5 3 &pcfg_pull_none>,
				/* fspi1_d0_m1 */
				<1 RK_PC4 3 &pcfg_pull_none>,
				/* fspi1_d1_m1 */
				<1 RK_PC5 3 &pcfg_pull_none>,
				/* fspi1_d2_m1 */
				// <1 RK_PC6 3 &pcfg_pull_none>,
				/* fspi1_d3_m1 */
				<1 RK_PC7 3 &pcfg_pull_none>;
		};
	};
};
